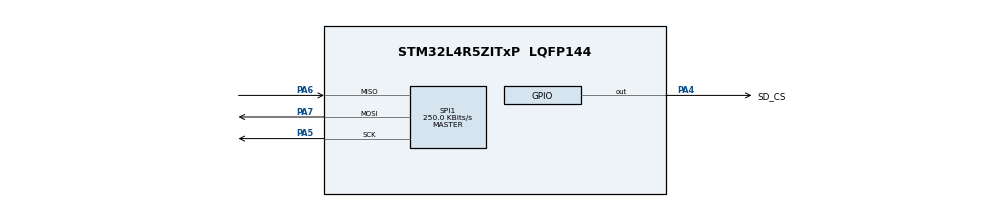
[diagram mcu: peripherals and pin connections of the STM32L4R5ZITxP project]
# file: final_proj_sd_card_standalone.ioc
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Mcu.Family=STM32L4
Mcu.Name=STM32L4R5ZITxP
Mcu.Package=LQFP144
NVIC.PriorityGroup=NVIC_PRIORITYGROUP_4
PA0.Signal=S_TIM2_CH1
PA1.Signal=ADCx_IN6
PA10.Signal=USB_OTG_FS_ID
PA13\ (JTMS/SWDIO).Signal=SYS_JTMS-SWDIO
PA14\ (JTCK/SWCLK).Signal=SYS_JTCK-SWCLK
PA3.Signal=ADCx_IN8
PA4.GPIO_Label=SD_CS
PA4.Signal=GPIO_Output
PA5.Mode=Full_Duplex_Master
PA5.Signal=SPI1_SCK
PA6.Mode=Full_Duplex_Master
PA6.Signal=SPI1_MISO
PA7.Mode=Full_Duplex_Master
PA7.Signal=SPI1_MOSI
PA8.Signal=USB_OTG_FS_SOF
PA9.Signal=USB_OTG_FS_VBUS
PB0.Signal=S_TIM3_CH3
PB1.Signal=ADCx_IN16
PB10.Signal=S_TIM2_CH3
PB12.Signal=SAI2_FS_A
PB13.Signal=SAI2_SCK_A
PB14.Signal=S_TIM15_CH1
PB15.Signal=SAI2_SD_A
PB2.Signal=COMP1_INP
PB3\ (JTDO/TRACESWO).Signal=SPI3_SCK
PB4\ (NJTRST).Signal=SPI3_MISO
PB5.Signal=SPI3_MOSI
PB6.Signal=COMP2_INP
PB8.Signal=I2C1_SCL
PB9.Signal=I2C1_SDA
PC0.Signal=ADCx_IN1
PC1.Signal=ADCx_IN2
PC10.Signal=SDMMC1_D2
PC11.Signal=SDMMC1_D3
PC12.Signal=SDMMC1_CK
PC13.Signal=SYS_WKUP2
PC14-OSC32_IN\ (PC14).Signal=RCC_OSC32_IN
PC15-OSC32_OUT\ (PC15).Signal=RCC_OSC32_OUT
PC2.Signal=ADCx_IN3
PC3.Signal=ADCx_IN4
PC4.Signal=ADCx_IN13
PC5.Signal=ADCx_IN14
PC6.Signal=SAI2_MCLK_A
PC7.Signal=S_TIM3_CH2
PC8.Signal=SDMMC1_D0
PC9.Signal=SDMMC1_D1
PD0.Signal=CAN1_RX
PD14.Signal=S_TIM4_CH3
PD15.Signal=S_TIM4_CH4
PD2.Signal=SDMMC1_CMD
PD3.Signal=USART2_CTS
PD4.Signal=USART2_RTS
PD5.Signal=USART2_TX
PD6.Signal=USART2_RX
PD8.Signal=USART3_TX
PD9.Signal=USART3_RX
PE0.Signal=S_TIM4_ETR
PE10.Signal=TIM1_CH2N
PE11.Signal=S_TIM1_CH2
PE12.Signal=TIM1_CH3N
PE13.Signal=S_TIM1_CH3
PE14.Signal=TIM1_BKIN2
PE15.Signal=TIM1_BKIN
PE2.Signal=SAI1_MCLK_A
PE3.Signal=SAI1_SD_B
PE7.Signal=S_TIM1_ETR
PE8.Signal=TIM1_CH1N
PE9.Signal=S_TIM1_CH1
PF0.Signal=I2C2_SDA
PF1.Signal=I2C2_SCL
PF2.Signal=I2C2_SMBA
PF7.Signal=SAI1_MCLK_B
PG7.Signal=LPUART1_TX
PG8.Signal=LPUART1_RX
PH0-OSC_IN\ (PH0).Signal=RCC_OSC_IN
PH1-OSC_OUT\ (PH1).Signal=RCC_OSC_OUT
ProjectManager.HeapSize=0x200
ProjectManager.StackSize=0x400
ProjectManager.TargetToolchain=STM32CubeIDE
RCC.HSE_VALUE=8000000
RCC.HSI48_VALUE=48000000
RCC.HSI_VALUE=16000000
RCC.LSE_VALUE=32768
RCC.MSI_VALUE=4000000
RCC.VCOOutputFreq_Value=32000000
SH.ADCx_IN1.0=ADC1_IN1
SH.ADCx_IN13.0=ADC1_IN13
SH.ADCx_IN14.0=ADC1_IN14
SH.ADCx_IN16.0=ADC1_IN16
SH.ADCx_IN2.0=ADC1_IN2
SH.ADCx_IN3.0=ADC1_IN3
SH.ADCx_IN4.0=ADC1_IN4
SH.ADCx_IN6.0=ADC1_IN6
SH.ADCx_IN8.0=ADC1_IN8
SH.S_TIM15_CH1.0=TIM15_CH1
SH.S_TIM1_CH1.0=TIM1_CH1
SH.S_TIM1_CH2.0=TIM1_CH2
SH.S_TIM1_CH3.0=TIM1_CH3
SH.S_TIM1_ETR.0=TIM1_ETR
SH.S_TIM2_CH1.0=TIM2_CH1
SH.S_TIM2_CH3.0=TIM2_CH3
SH.S_TIM3_CH2.0=TIM3_CH2
SH.S_TIM3_CH3.0=TIM3_CH3
SH.S_TIM4_CH3.0=TIM4_CH3
SH.S_TIM4_CH4.0=TIM4_CH4
SH.S_TIM4_ETR.0=TIM4_ETR
SPI1.BaudRatePrescaler=SPI_BAUDRATEPRESCALER_16
SPI1.CalculateBaudRate=250.0 KBits/s
SPI1.DataSize=SPI_DATASIZE_8BIT
SPI1.Direction=SPI_DIRECTION_2LINES
SPI1.Mode=SPI_MODE_MASTER
SPI1.VirtualType=VM_MASTER
VP_FATFS_VS_Generic.Mode=User_defined
board=NUCLEO-L4R5ZI-P

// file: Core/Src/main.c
/* USER CODE BEGIN Header */
/**
  ******************************************************************************
  * @file           : main.c
  * @brief          : Main program body
  ******************************************************************************
  * @attention
  *
  * Copyright (c) 2024 STMicroelectronics.
  * All rights reserved.
  *
  * This software is licensed under terms that can be found in the LICENSE file
  * in the root directory of this software component.
  * If no LICENSE file comes with this software, it is provided AS-IS.
  *
  ******************************************************************************
  */
/* USER CODE END Header */
#include "main.h"
#include "fatfs.h"

SPI_HandleTypeDef hspi1;

void SystemClock_Config(void);
static void MX_GPIO_Init(void);
static void MX_SPI1_Init(void);

int main(void)
{

  /* MCU Configuration--------------------------------------------------------*/

  /* Reset of all peripherals, Initializes the Flash interface and the Systick. */
  HAL_Init();

  /* Configure the system clock */
  SystemClock_Config();

  /* Initialize all configured peripherals */
  MX_GPIO_Init();
  MX_SPI1_Init();
  MX_FATFS_Init();
  /* USER CODE BEGIN 2 */

  //some variables for FatFs
  FATFS FatFs; 	//Fatfs handle
  FIL fil; 		//File handle
  FRESULT fres; //Result after operations

  fres = f_mount(&FatFs, "", 1); //1=mount now
  if (fres != FR_OK) {
  	while(1);
  }

  fres = f_open(&fil, "test.txt", FA_READ);
  if (fres != FR_OK) {
  	while(1);
  }

  BYTE readBuf[30];

  //We can either use f_read OR f_gets to get data out of files
  //f_gets is a wrapper on f_read that does some string formatting for us

  TCHAR* rres = f_gets((TCHAR*)readBuf, 30, &fil);

  f_close(&fil);

  fres = f_open(&fil, "write.txt", FA_WRITE | FA_OPEN_ALWAYS | FA_CREATE_ALWAYS);

  strncpy((char*)readBuf, "a new file is made!", 19);
  UINT bytesWrote;
  fres = f_write(&fil, readBuf, 19, &bytesWrote);

  f_close(&fil);

  //We're done, so de-mount the drive
  f_mount(NULL, "", 0);

  /* USER CODE END 2 */

  /* Infinite loop */
  while (1)
  {

  }
}

void SystemClock_Config(void)
{
  RCC_OscInitTypeDef RCC_OscInitStruct = {0};
  RCC_ClkInitTypeDef RCC_ClkInitStruct = {0};

  /** Configure the main internal regulator output voltage
  */
  if (HAL_PWREx_ControlVoltageScaling(PWR_REGULATOR_VOLTAGE_SCALE1) != HAL_OK)
  {
    Error_Handler();
  }

  /** Initializes the RCC Oscillators according to the specified parameters
  * in the RCC_OscInitTypeDef structure.
  */
  RCC_OscInitStruct.OscillatorType = RCC_OSCILLATORTYPE_MSI;
  RCC_OscInitStruct.MSIState = RCC_MSI_ON;
  RCC_OscInitStruct.MSICalibrationValue = 0;
  RCC_OscInitStruct.MSIClockRange = RCC_MSIRANGE_6;
  RCC_OscInitStruct.PLL.PLLState = RCC_PLL_NONE;
  if (HAL_RCC_OscConfig(&RCC_OscInitStruct) != HAL_OK)
  {
    Error_Handler();
  }

  /** Initializes the CPU, AHB and APB buses clocks
  */
  RCC_ClkInitStruct.ClockType = RCC_CLOCKTYPE_HCLK|RCC_CLOCKTYPE_SYSCLK
                              |RCC_CLOCKTYPE_PCLK1|RCC_CLOCKTYPE_PCLK2;
  RCC_ClkInitStruct.SYSCLKSource = RCC_SYSCLKSOURCE_MSI;
  RCC_ClkInitStruct.AHBCLKDivider = RCC_SYSCLK_DIV1;
  RCC_ClkInitStruct.APB1CLKDivider = RCC_HCLK_DIV1;
  RCC_ClkInitStruct.APB2CLKDivider = RCC_HCLK_DIV1;

  if (HAL_RCC_ClockConfig(&RCC_ClkInitStruct, FLASH_LATENCY_0) != HAL_OK)
  {
    Error_Handler();
  }
}

static void MX_SPI1_Init(void)
{

  /* SPI1 parameter configuration*/
  hspi1.Instance = SPI1;
  hspi1.Init.Mode = SPI_MODE_MASTER;
  hspi1.Init.Direction = SPI_DIRECTION_2LINES;
  hspi1.Init.DataSize = SPI_DATASIZE_8BIT;
  hspi1.Init.CLKPolarity = SPI_POLARITY_LOW;
  hspi1.Init.CLKPhase = SPI_PHASE_1EDGE;
  hspi1.Init.NSS = SPI_NSS_SOFT;
  hspi1.Init.BaudRatePrescaler = SPI_BAUDRATEPRESCALER_16;
  hspi1.Init.FirstBit = SPI_FIRSTBIT_MSB;
  hspi1.Init.TIMode = SPI_TIMODE_DISABLE;
  hspi1.Init.CRCCalculation = SPI_CRCCALCULATION_DISABLE;
  hspi1.Init.CRCPolynomial = 7;
  hspi1.Init.CRCLength = SPI_CRC_LENGTH_DATASIZE;
  hspi1.Init.NSSPMode = SPI_NSS_PULSE_ENABLE;
  if (HAL_SPI_Init(&hspi1) != HAL_OK)
  {
    Error_Handler();
  }

}

static void MX_GPIO_Init(void)
{
  GPIO_InitTypeDef GPIO_InitStruct = {0};

  /* GPIO Ports Clock Enable */
  __HAL_RCC_GPIOE_CLK_ENABLE();
  __HAL_RCC_GPIOC_CLK_ENABLE();
  __HAL_RCC_GPIOF_CLK_ENABLE();
  __HAL_RCC_GPIOH_CLK_ENABLE();
  __HAL_RCC_GPIOA_CLK_ENABLE();
  __HAL_RCC_GPIOB_CLK_ENABLE();
  __HAL_RCC_GPIOD_CLK_ENABLE();
  __HAL_RCC_GPIOG_CLK_ENABLE();
  HAL_PWREx_EnableVddIO2();

  /*Configure GPIO pin Output Level */
  HAL_GPIO_WritePin(SD_CS_GPIO_Port, SD_CS_Pin, GPIO_PIN_RESET);

  /*Configure GPIO pins : PE2 PE3 */
  GPIO_InitStruct.Pin = GPIO_PIN_2|GPIO_PIN_3;
  GPIO_InitStruct.Mode = GPIO_MODE_AF_PP;
  GPIO_InitStruct.Pull = GPIO_NOPULL;
  GPIO_InitStruct.Speed = GPIO_SPEED_FREQ_LOW;
  GPIO_InitStruct.Alternate = GPIO_AF13_SAI1;
  HAL_GPIO_Init(GPIOE, &GPIO_InitStruct);

  /*Configure GPIO pins : PF0 PF1 PF2 */
  GPIO_InitStruct.Pin = GPIO_PIN_0|GPIO_PIN_1|GPIO_PIN_2;
  GPIO_InitStruct.Mode = GPIO_MODE_AF_OD;
  GPIO_InitStruct.Pull = GPIO_NOPULL;
  GPIO_InitStruct.Speed = GPIO_SPEED_FREQ_VERY_HIGH;
  GPIO_InitStruct.Alternate = GPIO_AF4_I2C2;
  HAL_GPIO_Init(GPIOF, &GPIO_InitStruct);

  /*Configure GPIO pin : PF7 */
  GPIO_InitStruct.Pin = GPIO_PIN_7;
  GPIO_InitStruct.Mode = GPIO_MODE_AF_PP;
  GPIO_InitStruct.Pull = GPIO_NOPULL;
  GPIO_InitStruct.Speed = GPIO_SPEED_FREQ_LOW;
  GPIO_InitStruct.Alternate = GPIO_AF13_SAI1;
  HAL_GPIO_Init(GPIOF, &GPIO_InitStruct);

  /*Configure GPIO pins : PC0 PC1 PC2 PC3
                           PC4 PC5 */
  GPIO_InitStruct.Pin = GPIO_PIN_0|GPIO_PIN_1|GPIO_PIN_2|GPIO_PIN_3
                          |GPIO_PIN_4|GPIO_PIN_5;
  GPIO_InitStruct.Mode = GPIO_MODE_ANALOG_ADC_CONTROL;
  GPIO_InitStruct.Pull = GPIO_NOPULL;
  HAL_GPIO_Init(GPIOC, &GPIO_InitStruct);

  /*Configure GPIO pin : PA0 */
  GPIO_InitStruct.Pin = GPIO_PIN_0;
  GPIO_InitStruct.Mode = GPIO_MODE_AF_PP;
  GPIO_InitStruct.Pull = GPIO_NOPULL;
  GPIO_InitStruct.Speed = GPIO_SPEED_FREQ_LOW;
  GPIO_InitStruct.Alternate = GPIO_AF1_TIM2;
  HAL_GPIO_Init(GPIOA, &GPIO_InitStruct);

  /*Configure GPIO pins : PA1 PA3 */
  GPIO_InitStruct.Pin = GPIO_PIN_1|GPIO_PIN_3;
  GPIO_InitStruct.Mode = GPIO_MODE_ANALOG_ADC_CONTROL;
  GPIO_InitStruct.Pull = GPIO_NOPULL;
  HAL_GPIO_Init(GPIOA, &GPIO_InitStruct);

  /*Configure GPIO pin : SD_CS_Pin */
  GPIO_InitStruct.Pin = SD_CS_Pin;
  GPIO_InitStruct.Mode = GPIO_MODE_OUTPUT_PP;
  GPIO_InitStruct.Pull = GPIO_NOPULL;
  GPIO_InitStruct.Speed = GPIO_SPEED_FREQ_LOW;
  HAL_GPIO_Init(SD_CS_GPIO_Port, &GPIO_InitStruct);

  /*Configure GPIO pin : PB0 */
  GPIO_InitStruct.Pin = GPIO_PIN_0;
  GPIO_InitStruct.Mode = GPIO_MODE_AF_PP;
  GPIO_InitStruct.Pull = GPIO_NOPULL;
  GPIO_InitStruct.Speed = GPIO_SPEED_FREQ_LOW;
  GPIO_InitStruct.Alternate = GPIO_AF2_TIM3;
  HAL_GPIO_Init(GPIOB, &GPIO_InitStruct);

  /*Configure GPIO pin : PB1 */
  GPIO_InitStruct.Pin = GPIO_PIN_1;
  GPIO_InitStruct.Mode = GPIO_MODE_ANALOG_ADC_CONTROL;
  GPIO_InitStruct.Pull = GPIO_NOPULL;
  HAL_GPIO_Init(GPIOB, &GPIO_InitStruct);

  /*Configure GPIO pins : PB2 PB6 */
  GPIO_InitStruct.Pin = GPIO_PIN_2|GPIO_PIN_6;
  GPIO_InitStruct.Mode = GPIO_MODE_ANALOG;
  GPIO_InitStruct.Pull = GPIO_NOPULL;
  HAL_GPIO_Init(GPIOB, &GPIO_InitStruct);

  /*Configure GPIO pins : PE7 PE8 PE9 PE10
                           PE11 PE12 PE13 */
  GPIO_InitStruct.Pin = GPIO_PIN_7|GPIO_PIN_8|GPIO_PIN_9|GPIO_PIN_10
                          |GPIO_PIN_11|GPIO_PIN_12|GPIO_PIN_13;
  GPIO_InitStruct.Mode = GPIO_MODE_AF_PP;
  GPIO_InitStruct.Pull = GPIO_NOPULL;
  GPIO_InitStruct.Speed = GPIO_SPEED_FREQ_LOW;
  GPIO_InitStruct.Alternate = GPIO_AF1_TIM1;
  HAL_GPIO_Init(GPIOE, &GPIO_InitStruct);

  /*Configure GPIO pins : PE14 PE15 */
  GPIO_InitStruct.Pin = GPIO_PIN_14|GPIO_PIN_15;
  GPIO_InitStruct.Mode = GPIO_MODE_AF_PP;
  GPIO_InitStruct.Pull = GPIO_NOPULL;
  GPIO_InitStruct.Speed = GPIO_SPEED_FREQ_LOW;
  GPIO_InitStruct.Alternate = GPIO_AF3_TIM1_COMP1;
  HAL_GPIO_Init(GPIOE, &GPIO_InitStruct);

  /*Configure GPIO pin : PB10 */
  GPIO_InitStruct.Pin = GPIO_PIN_10;
  GPIO_InitStruct.Mode = GPIO_MODE_AF_PP;
  GPIO_InitStruct.Pull = GPIO_NOPULL;
  GPIO_InitStruct.Speed = GPIO_SPEED_FREQ_LOW;
  GPIO_InitStruct.Alternate = GPIO_AF1_TIM2;
  HAL_GPIO_Init(GPIOB, &GPIO_InitStruct);

  /*Configure GPIO pins : PB12 PB13 PB15 */
  GPIO_InitStruct.Pin = GPIO_PIN_12|GPIO_PIN_13|GPIO_PIN_15;
  GPIO_InitStruct.Mode = GPIO_MODE_AF_PP;
  GPIO_InitStruct.Pull = GPIO_NOPULL;
  GPIO_InitStruct.Speed = GPIO_SPEED_FREQ_LOW;
  GPIO_InitStruct.Alternate = GPIO_AF13_SAI2;
  HAL_GPIO_Init(GPIOB, &GPIO_InitStruct);

  /*Configure GPIO pin : PB14 */
  GPIO_InitStruct.Pin = GPIO_PIN_14;
  GPIO_InitStruct.Mode = GPIO_MODE_AF_PP;
  GPIO_InitStruct.Pull = GPIO_NOPULL;
  GPIO_InitStruct.Speed = GPIO_SPEED_FREQ_LOW;
  GPIO_InitStruct.Alternate = GPIO_AF14_TIM15;
  HAL_GPIO_Init(GPIOB, &GPIO_InitStruct);

  /*Configure GPIO pins : PD8 PD9 */
  GPIO_InitStruct.Pin = GPIO_PIN_8|GPIO_PIN_9;
  GPIO_InitStruct.Mode = GPIO_MODE_AF_PP;
  GPIO_InitStruct.Pull = GPIO_NOPULL;
  GPIO_InitStruct.Speed = GPIO_SPEED_FREQ_VERY_HIGH;
  GPIO_InitStruct.Alternate = GPIO_AF7_USART3;
  HAL_GPIO_Init(GPIOD, &GPIO_InitStruct);

  /*Configure GPIO pins : PD14 PD15 */
  GPIO_InitStruct.Pin = GPIO_PIN_14|GPIO_PIN_15;
  GPIO_InitStruct.Mode = GPIO_MODE_AF_PP;
  GPIO_InitStruct.Pull = GPIO_NOPULL;
  GPIO_InitStruct.Speed = GPIO_SPEED_FREQ_LOW;
  GPIO_InitStruct.Alternate = GPIO_AF2_TIM4;
  HAL_GPIO_Init(GPIOD, &GPIO_InitStruct);

  /*Configure GPIO pins : PG7 PG8 */
  GPIO_InitStruct.Pin = GPIO_PIN_7|GPIO_PIN_8;
  GPIO_InitStruct.Mode = GPIO_MODE_AF_PP;
  GPIO_InitStruct.Pull = GPIO_NOPULL;
  GPIO_InitStruct.Speed = GPIO_SPEED_FREQ_VERY_HIGH;
  GPIO_InitStruct.Alternate = GPIO_AF8_LPUART1;
  HAL_GPIO_Init(GPIOG, &GPIO_InitStruct);

  /*Configure GPIO pin : PC6 */
  GPIO_InitStruct.Pin = GPIO_PIN_6;
  GPIO_InitStruct.Mode = GPIO_MODE_AF_PP;
  GPIO_InitStruct.Pull = GPIO_NOPULL;
  GPIO_InitStruct.Speed = GPIO_SPEED_FREQ_LOW;
  GPIO_InitStruct.Alternate = GPIO_AF13_SAI2;
  HAL_GPIO_Init(GPIOC, &GPIO_InitStruct);

  /*Configure GPIO pin : PC7 */
  GPIO_InitStruct.Pin = GPIO_PIN_7;
  GPIO_InitStruct.Mode = GPIO_MODE_AF_PP;
  GPIO_InitStruct.Pull = GPIO_NOPULL;
  GPIO_InitStruct.Speed = GPIO_SPEED_FREQ_LOW;
  GPIO_InitStruct.Alternate = GPIO_AF2_TIM3;
  HAL_GPIO_Init(GPIOC, &GPIO_InitStruct);

  /*Configure GPIO pins : PC8 PC9 PC10 PC11
                           PC12 */
  GPIO_InitStruct.Pin = GPIO_PIN_8|GPIO_PIN_9|GPIO_PIN_10|GPIO_PIN_11
                          |GPIO_PIN_12;
  GPIO_InitStruct.Mode = GPIO_MODE_AF_PP;
  GPIO_InitStruct.Pull = GPIO_NOPULL;
  GPIO_InitStruct.Speed = GPIO_SPEED_FREQ_VERY_HIGH;
  GPIO_InitStruct.Alternate = GPIO_AF12_SDMMC1;
  HAL_GPIO_Init(GPIOC, &GPIO_InitStruct);

  /*Configure GPIO pins : PA8 PA10 */
  GPIO_InitStruct.Pin = GPIO_PIN_8|GPIO_PIN_10;
  GPIO_InitStruct.Mode = GPIO_MODE_AF_PP;
  GPIO_InitStruct.Pull = GPIO_NOPULL;
  GPIO_InitStruct.Speed = GPIO_SPEED_FREQ_VERY_HIGH;
  GPIO_InitStruct.Alternate = GPIO_AF10_OTG_FS;
  HAL_GPIO_Init(GPIOA, &GPIO_InitStruct);

  /*Configure GPIO pin : PA9 */
  GPIO_InitStruct.Pin = GPIO_PIN_9;
  GPIO_InitStruct.Mode = GPIO_MODE_INPUT;
  GPIO_InitStruct.Pull = GPIO_NOPULL;
  HAL_GPIO_Init(GPIOA, &GPIO_InitStruct);

  /*Configure GPIO pin : PD0 */
  GPIO_InitStruct.Pin = GPIO_PIN_0;
  GPIO_InitStruct.Mode = GPIO_MODE_AF_PP;
  GPIO_InitStruct.Pull = GPIO_NOPULL;
  GPIO_InitStruct.Speed = GPIO_SPEED_FREQ_VERY_HIGH;
  GPIO_InitStruct.Alternate = GPIO_AF9_CAN1;
  HAL_GPIO_Init(GPIOD, &GPIO_InitStruct);

  /*Configure GPIO pin : PD2 */
  GPIO_InitStruct.Pin = GPIO_PIN_2;
  GPIO_InitStruct.Mode = GPIO_MODE_AF_PP;
  GPIO_InitStruct.Pull = GPIO_NOPULL;
  GPIO_InitStruct.Speed = GPIO_SPEED_FREQ_VERY_HIGH;
  GPIO_InitStruct.Alternate = GPIO_AF12_SDMMC1;
  HAL_GPIO_Init(GPIOD, &GPIO_InitStruct);

  /*Configure GPIO pins : PD3 PD4 PD5 PD6 */
  GPIO_InitStruct.Pin = GPIO_PIN_3|GPIO_PIN_4|GPIO_PIN_5|GPIO_PIN_6;
  GPIO_InitStruct.Mode = GPIO_MODE_AF_PP;
  GPIO_InitStruct.Pull = GPIO_NOPULL;
  GPIO_InitStruct.Speed = GPIO_SPEED_FREQ_VERY_HIGH;
  GPIO_InitStruct.Alternate = GPIO_AF7_USART2;
  HAL_GPIO_Init(GPIOD, &GPIO_InitStruct);

  /*Configure GPIO pins : PB3 PB4 PB5 */
  GPIO_InitStruct.Pin = GPIO_PIN_3|GPIO_PIN_4|GPIO_PIN_5;
  GPIO_InitStruct.Mode = GPIO_MODE_AF_PP;
  GPIO_InitStruct.Pull = GPIO_NOPULL;
  GPIO_InitStruct.Speed = GPIO_SPEED_FREQ_VERY_HIGH;
  GPIO_InitStruct.Alternate = GPIO_AF6_SPI3;
  HAL_GPIO_Init(GPIOB, &GPIO_InitStruct);

  /*Configure GPIO pins : PB8 PB9 */
  GPIO_InitStruct.Pin = GPIO_PIN_8|GPIO_PIN_9;
  GPIO_InitStruct.Mode = GPIO_MODE_AF_OD;
  GPIO_InitStruct.Pull = GPIO_NOPULL;
  GPIO_InitStruct.Speed = GPIO_SPEED_FREQ_VERY_HIGH;
  GPIO_InitStruct.Alternate = GPIO_AF4_I2C1;
  HAL_GPIO_Init(GPIOB, &GPIO_InitStruct);

  /*Configure GPIO pin : PE0 */
  GPIO_InitStruct.Pin = GPIO_PIN_0;
  GPIO_InitStruct.Mode = GPIO_MODE_AF_PP;
  GPIO_InitStruct.Pull = GPIO_NOPULL;
  GPIO_InitStruct.Speed = GPIO_SPEED_FREQ_LOW;
  GPIO_InitStruct.Alternate = GPIO_AF2_TIM4;
  HAL_GPIO_Init(GPIOE, &GPIO_InitStruct);

}

void Error_Handler(void)
{
  __disable_irq();
  while (1)
  {
  }
}
